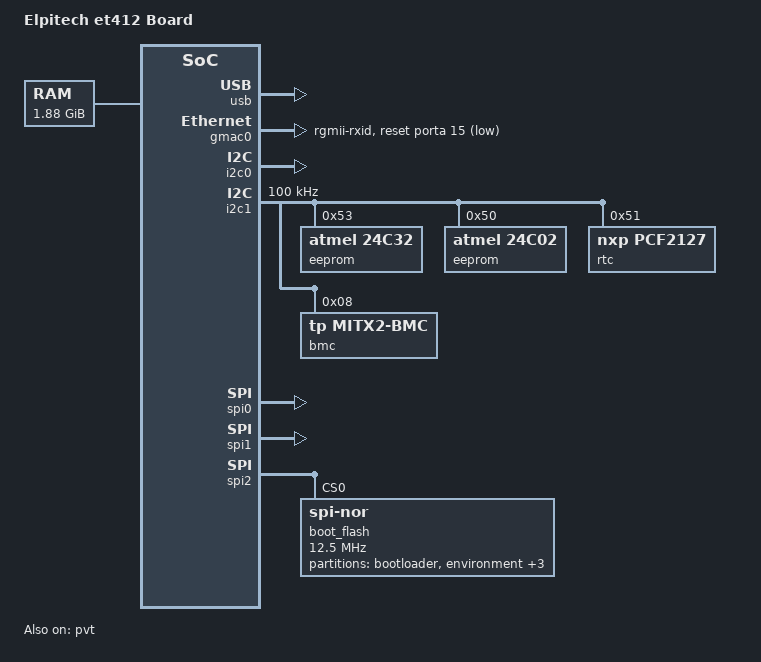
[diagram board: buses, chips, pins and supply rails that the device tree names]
// SPDX-License-Identifier: GPL-2.0+
/*
 * Elpitech et412 board device tree.
 *
 * Copyright (C) 2022 Elpitech
 *
 */

#include <dt-bindings/interrupt-controller/mips-gic.h>
#include <dt-bindings/gpio/gpio.h>

/dts-v1/;

#include "baikal_t1_soc.dtsi"

/ {
	model = "Elpitech et412 Board";
	compatible = "baikal,mips", "baikal,baikal-t1-soc";

	aliases {
		spi0 = &spi0;
		spi1 = &spi1;
		spi2 = &spi2;
	};

	chosen {
		bootargs = "root=/dev/ram rw console=ttyS0,115200n8 earlyprintk=uart8250,mmio32,0x1F04A000,115200 nohtw";
		linux,initrd-start = <0 0x01000000>;
		linux,initrd-end   = <0 0x02000000>;
		stdout-path = "serial0:115200n8";
	};

	memory {
		device_type = "memory";
		reg = <0 0x00000000 0 0x08000000>,
		      <0 0x20000000 0 0x70000000>;
	};

};

&usb {
	status = "okay";
};

&gmac0 {
	status = "okay";
	snps,reset-gpio = <&porta 15 GPIO_ACTIVE_LOW>;
	snps,reset-active-low;
	snps,reset-delays-us = <10>, <10000>, <50000>;
	phy-mode = "rgmii-rxid";
};

&gpio {
	status = "okay";
};

&gpio3 {
	status = "okay";
};

&i2c0 {
	status = "okay";
};

&i2c1 {
	status = "okay";
	clock-frequency = <100000>;
	u-boot,dm-pre-reloc;

	eeprom@53 {
		compatible = "atmel,24c32";
		pagesize = <32>;
		reg = <0x53>;
		u-boot,i2c-offset-len = <2>;
	};

	eeprom@50 {
		compatible = "atmel,24c02";
		pagesize = <16>;
		reg = <0x50>;
		u-boot,dm-pre-reloc;
	};

	rtc@51 {
		compatible = "nxp,pcf2127", "pcf2127-rtc";
		reg = <0x51>;
	};

	bmc@8 {
		compatible = "tp,mitx2-bmc", "t-platforms,mitx2-bmc";
		reg = <0x08>;
	};
};

&spi0 {
	num-cs = <1>;
	cs-gpios = <&porta 8 GPIO_ACTIVE_LOW>;
	status = "okay";
	spi-max-frequency = <50000000>;

};

&spi1 {
	num-cs = <1>;
	cs-gpios = <0>;
	status = "okay";
	spi-max-frequency = <5000000>;
};

&spi2 {
	status = "okay";
	num-cs = <1>;
	spi-max-frequency = <25000000>;
	boot_flash: spi_flash@0 {
		#address-cells = <1>;
		#size-cells = <1>;
		reg = <0>;
		compatible = "jedec,spi-nor";
		spi-max-frequency = <12500000>;
		m25p,fast-read;

		partition@0 {
			label = "bootloader";
			reg = <0x0 0xE0000>;
			read-only;
		};

		partition@1 {
			label = "environment";
			reg = <0xE0000 0x10000>;
		};

		partition@2 {
			label = "information";
			reg = <0xF0000 0x10000>;
			read-only;
		};

		partition@3 {
			label = "multiimage";
			reg = <0x100000 0xF00000>;
			read-only;
		};

		partition@4 {
			label = "firmware";
			reg = <0x0 0x1000000>;
		};
	};
};

&pvt {
	status = "okay";
};
